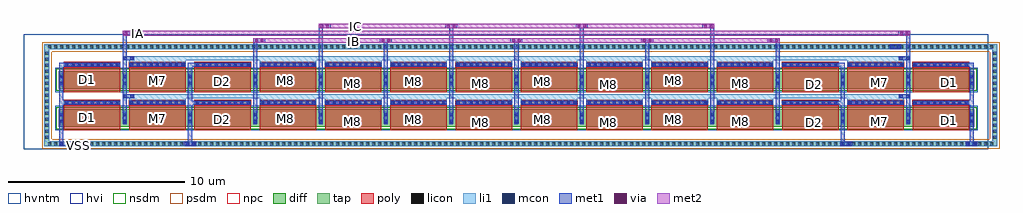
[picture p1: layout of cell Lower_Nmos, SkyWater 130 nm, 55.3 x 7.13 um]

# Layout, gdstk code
from math import pi, radians
import gdstk
lib = gdstk.Library(unit=1e-6, precision=1e-09)
def R(c, l, rs):  # rectangles x0, y0, x1, y1
    for r in rs: c.add(gdstk.rectangle(r[:2], r[2:], *l))
def A(c, l, x, y, w, h, nx, ny, dx, dy):  # array of equal rectangles
    R(c, l, [(x+i*dx, y+j*dy, x+i*dx+w, y+j*dy+h) for i in range(nx) for j in range(ny)])
diff = (65, 20)
tap = (65, 44)
poly = (66, 20)
licon = (66, 44)
li1 = (67, 20)
mcon = (67, 44)
met1 = (68, 20)
via = (68, 44)
met2 = (69, 20)
hvi = (75, 20)
nsdm = (93, 44)
psdm = (94, 20)
npc = (95, 20)
hvntm = (125, 20)

nfet = lib.new_cell('nfet')
R(nfet, diff, [(0,0,51.9,1)])
A(nfet, poly, 0.3, -0.2, 3.2, 1.4, 14, 1, 3.7, 0)
A(nfet, poly, 0.3, 1.2, 3.2, 0.33, 14, 1, 3.7, 0)
A(nfet, licon, 3.665, 0.235, 0.17, 0.17, 13, 2, 3.7, 0.36)
A(nfet, licon, 0.375, 1.28, 0.17, 0.17, 9, 1, 0.36, 0)
A(nfet, licon, 4.075, 1.28, 0.17, 0.17, 9, 1, 0.36, 0)
A(nfet, licon, 7.775, 1.28, 0.17, 0.17, 9, 1, 0.36, 0)
A(nfet, licon, 11.475, 1.28, 0.17, 0.17, 9, 1, 0.36, 0)
A(nfet, licon, 15.175, 1.28, 0.17, 0.17, 9, 1, 0.36, 0)
A(nfet, licon, 18.875, 1.28, 0.17, 0.17, 9, 1, 0.36, 0)
A(nfet, licon, 22.575, 1.28, 0.17, 0.17, 9, 1, 0.36, 0)
A(nfet, licon, 26.275, 1.28, 0.17, 0.17, 9, 1, 0.36, 0)
A(nfet, licon, 29.975, 1.28, 0.17, 0.17, 9, 1, 0.36, 0)
A(nfet, licon, 33.675, 1.28, 0.17, 0.17, 9, 1, 0.36, 0)
A(nfet, licon, 37.375, 1.28, 0.17, 0.17, 9, 1, 0.36, 0)
A(nfet, licon, 41.075, 1.28, 0.17, 0.17, 9, 1, 0.36, 0)
A(nfet, licon, 44.775, 1.28, 0.17, 0.17, 9, 1, 0.36, 0)
A(nfet, licon, 48.475, 1.28, 0.17, 0.17, 9, 1, 0.36, 0)
R(nfet, licon, [(0.065,0.235,0.235,0.405), (51.665,0.235,51.835,0.405), (0.065,0.595,0.235,0.765), (51.665,0.595,51.835,0.765)])
A(nfet, li1, 3.665, 0.155, 0.17, 0.69, 13, 1, 3.7, 0)
A(nfet, li1, 0.295, 1.28, 3.21, 0.17, 14, 1, 3.7, 0)
R(nfet, li1, [(0.065,0.155,0.235,0.845), (51.665,0.155,51.835,0.845)])
A(nfet, mcon, 3.665, 0.235, 0.17, 0.17, 13, 2, 3.7, 0.36)
A(nfet, mcon, 0.375, 1.28, 0.17, 0.17, 9, 1, 0.36, 0)
A(nfet, mcon, 4.075, 1.28, 0.17, 0.17, 9, 1, 0.36, 0)
A(nfet, mcon, 7.775, 1.28, 0.17, 0.17, 9, 1, 0.36, 0)
A(nfet, mcon, 11.475, 1.28, 0.17, 0.17, 9, 1, 0.36, 0)
A(nfet, mcon, 15.175, 1.28, 0.17, 0.17, 9, 1, 0.36, 0)
A(nfet, mcon, 18.875, 1.28, 0.17, 0.17, 9, 1, 0.36, 0)
A(nfet, mcon, 22.575, 1.28, 0.17, 0.17, 9, 1, 0.36, 0)
A(nfet, mcon, 26.275, 1.28, 0.17, 0.17, 9, 1, 0.36, 0)
A(nfet, mcon, 29.975, 1.28, 0.17, 0.17, 9, 1, 0.36, 0)
A(nfet, mcon, 33.675, 1.28, 0.17, 0.17, 9, 1, 0.36, 0)
A(nfet, mcon, 37.375, 1.28, 0.17, 0.17, 9, 1, 0.36, 0)
A(nfet, mcon, 41.075, 1.28, 0.17, 0.17, 9, 1, 0.36, 0)
A(nfet, mcon, 44.775, 1.28, 0.17, 0.17, 9, 1, 0.36, 0)
A(nfet, mcon, 48.475, 1.28, 0.17, 0.17, 9, 1, 0.36, 0)
R(nfet, mcon, [(0.065,0.235,0.235,0.405), (51.665,0.235,51.835,0.405), (0.065,0.595,0.235,0.765), (51.665,0.595,51.835,0.765)])
A(nfet, met1, 3.635, 0.175, 0.23, 0.65, 13, 1, 3.7, 0)
A(nfet, met1, 0.315, 1.25, 3.17, 0.23, 14, 1, 3.7, 0)
R(nfet, met1, [(0.035,0.175,0.265,0.825), (51.635,0.175,51.865,0.825)])
R(nfet, hvi, [(-0.37,-0.385,52.27,1.725)])
R(nfet, nsdm, [(-0.125,-0.125,52.025,1.125)])
A(nfet, npc, 0.29, 1.19, 3.22, 0.35, 14, 1, 3.7, 0)
R(nfet, hvntm, [(-0.185,-0.185,52.085,1.185)])

vias_gen_6 = lib.new_cell('vias_gen$6')
R(vias_gen_6, li1, [(0,0,0.66,0.23)])
R(vias_gen_6, mcon, [(0.065,0.03,0.235,0.2), (0.425,0.03,0.595,0.2)])
R(vias_gen_6, met1, [(0,0,0.66,0.23)])

vias_gen_11 = lib.new_cell('vias_gen$11')
R(vias_gen_11, li1, [(0,0,0.66,0.26)])
R(vias_gen_11, mcon, [(0.065,0.045,0.235,0.215), (0.425,0.045,0.595,0.215)])
R(vias_gen_11, met1, [(0,0,0.66,0.26)])

vias_gen_13 = lib.new_cell('vias_gen$13')
R(vias_gen_13, met1, [(0,0,0.68,0.26)])
R(vias_gen_13, via, [(0.105,0.055,0.255,0.205), (0.425,0.055,0.575,0.205)])
R(vias_gen_13, met2, [(0,0,0.68,0.26)])

nfet_2 = lib.new_cell('nfet$2')
R(nfet_2, diff, [(0,0,51.9,1)])
A(nfet_2, poly, 0.3, -0.2, 3.2, 1.4, 14, 1, 3.7, 0)
A(nfet_2, poly, 0.3, 1.2, 3.2, 0.33, 14, 1, 3.7, 0)
A(nfet_2, licon, 3.665, 0.235, 0.17, 0.17, 13, 2, 3.7, 0.36)
A(nfet_2, licon, 0.375, 1.28, 0.17, 0.17, 9, 1, 0.36, 0)
A(nfet_2, licon, 4.075, 1.28, 0.17, 0.17, 9, 1, 0.36, 0)
A(nfet_2, licon, 7.775, 1.28, 0.17, 0.17, 9, 1, 0.36, 0)
A(nfet_2, licon, 11.475, 1.28, 0.17, 0.17, 9, 1, 0.36, 0)
A(nfet_2, licon, 15.175, 1.28, 0.17, 0.17, 9, 1, 0.36, 0)
A(nfet_2, licon, 18.875, 1.28, 0.17, 0.17, 9, 1, 0.36, 0)
A(nfet_2, licon, 22.575, 1.28, 0.17, 0.17, 9, 1, 0.36, 0)
A(nfet_2, licon, 26.275, 1.28, 0.17, 0.17, 9, 1, 0.36, 0)
A(nfet_2, licon, 29.975, 1.28, 0.17, 0.17, 9, 1, 0.36, 0)
A(nfet_2, licon, 33.675, 1.28, 0.17, 0.17, 9, 1, 0.36, 0)
A(nfet_2, licon, 37.375, 1.28, 0.17, 0.17, 9, 1, 0.36, 0)
A(nfet_2, licon, 41.075, 1.28, 0.17, 0.17, 9, 1, 0.36, 0)
A(nfet_2, licon, 44.775, 1.28, 0.17, 0.17, 9, 1, 0.36, 0)
A(nfet_2, licon, 48.475, 1.28, 0.17, 0.17, 9, 1, 0.36, 0)
R(nfet_2, licon, [(0.065,0.235,0.235,0.405), (51.665,0.235,51.835,0.405), (0.065,0.595,0.235,0.765), (51.665,0.595,51.835,0.765)])
A(nfet_2, li1, 3.665, 0.155, 0.17, 0.69, 13, 1, 3.7, 0)
A(nfet_2, li1, 0.295, 1.28, 3.21, 0.17, 14, 1, 3.7, 0)
R(nfet_2, li1, [(0.065,0.155,0.235,0.845), (51.665,0.155,51.835,0.845)])
A(nfet_2, mcon, 3.665, 0.235, 0.17, 0.17, 13, 2, 3.7, 0.36)
A(nfet_2, mcon, 0.375, 1.28, 0.17, 0.17, 9, 1, 0.36, 0)
A(nfet_2, mcon, 4.075, 1.28, 0.17, 0.17, 9, 1, 0.36, 0)
A(nfet_2, mcon, 7.775, 1.28, 0.17, 0.17, 9, 1, 0.36, 0)
A(nfet_2, mcon, 11.475, 1.28, 0.17, 0.17, 9, 1, 0.36, 0)
A(nfet_2, mcon, 15.175, 1.28, 0.17, 0.17, 9, 1, 0.36, 0)
A(nfet_2, mcon, 18.875, 1.28, 0.17, 0.17, 9, 1, 0.36, 0)
A(nfet_2, mcon, 22.575, 1.28, 0.17, 0.17, 9, 1, 0.36, 0)
A(nfet_2, mcon, 26.275, 1.28, 0.17, 0.17, 9, 1, 0.36, 0)
A(nfet_2, mcon, 29.975, 1.28, 0.17, 0.17, 9, 1, 0.36, 0)
A(nfet_2, mcon, 33.675, 1.28, 0.17, 0.17, 9, 1, 0.36, 0)
A(nfet_2, mcon, 37.375, 1.28, 0.17, 0.17, 9, 1, 0.36, 0)
A(nfet_2, mcon, 41.075, 1.28, 0.17, 0.17, 9, 1, 0.36, 0)
A(nfet_2, mcon, 44.775, 1.28, 0.17, 0.17, 9, 1, 0.36, 0)
A(nfet_2, mcon, 48.475, 1.28, 0.17, 0.17, 9, 1, 0.36, 0)
R(nfet_2, mcon, [(0.065,0.235,0.235,0.405), (51.665,0.235,51.835,0.405), (0.065,0.595,0.235,0.765), (51.665,0.595,51.835,0.765)])
A(nfet_2, met1, 3.635, 0.175, 0.23, 0.65, 13, 1, 3.7, 0)
A(nfet_2, met1, 0.315, 1.25, 3.17, 0.23, 14, 1, 3.7, 0)
R(nfet_2, met1, [(0.035,0.175,0.265,0.825), (51.635,0.175,51.865,0.825)])
R(nfet_2, hvi, [(-0.37,-0.385,52.27,1.725)])
R(nfet_2, nsdm, [(-0.125,-0.125,52.025,1.125)])
A(nfet_2, npc, 0.29, 1.19, 3.22, 0.35, 14, 1, 3.7, 0)
R(nfet_2, hvntm, [(-0.185,-0.185,52.085,1.185)])

vias_gen_15 = lib.new_cell('vias_gen$15')
R(vias_gen_15, tap, [(0,0,5.2,0.29)])
A(vias_gen_15, licon, 0.135, 0.06, 0.17, 0.17, 15, 1, 0.34, 0)
R(vias_gen_15, li1, [(0,0,5.2,0.29)])
R(vias_gen_15, psdm, [(-0.125,-0.125,5.325,0.415)])

vias_gen_14 = lib.new_cell('vias_gen$14')
R(vias_gen_14, tap, [(0,0,54,0.29)])
A(vias_gen_14, licon, 0.225, 0.06, 0.17, 0.17, 158, 1, 0.34, 0)
R(vias_gen_14, li1, [(0,0,54,0.29)])
R(vias_gen_14, psdm, [(-0.125,-0.125,54.125,0.415)])

lower_nmos = lib.new_cell('Lower_Nmos')
A(lower_nmos, li1, 11.875, -35.29, 3.21, 0.405, 8, 2, 3.7, 2.16)
R(lower_nmos, li1, [(4.475,-35.29,7.685,-34.885), (45.175,-35.29,48.385,-34.885), (26.675,-35.285,29.885,-34.885), (4.44,-35.115,48.085,-34.885), (4.475,-33.13,7.685,-32.725), (45.175,-33.13,48.385,-32.725), (26.675,-33.125,29.885,-32.725), (4.44,-32.955,48.085,-32.725)])
R(lower_nmos, met1, [(7.815,-37.705,8.045,-36.565), (0.515,-37.7,0.745,-36.565), (52.115,-37.69,52.345,-36.565), (44.815,-37.655,45.045,-36.565), (0.515,-35.915,0.745,-35.385), (4.115,-35.915,4.345,-34.375), (7.815,-35.915,8.045,-35.26), (11.515,-35.915,11.745,-34.405), (15.215,-35.915,15.445,-34.23), (18.915,-35.915,19.145,-34.355), (22.615,-35.915,22.845,-34.34), (26.315,-35.915,26.545,-34.345), (30.015,-35.915,30.245,-34.37), (33.715,-35.915,33.945,-34.305), (37.415,-35.915,37.645,-34.175), (41.115,-35.915,41.345,-34.005), (44.815,-35.915,45.045,-35.26), (48.515,-35.915,48.745,-34.405), (52.115,-35.915,52.345,-35.385), (0.515,-35.49,0.795,-35.26), (7.95,-35.49,8.195,-35.26), (44.665,-35.49,44.91,-35.26), (52.065,-35.49,52.345,-35.26), (7.815,-35.42,8.045,-35.15), (0.515,-35.28,0.745,-34.405), (52.115,-35.27,52.345,-34.405), (44.815,-35.26,45.045,-34.405), (7.815,-35.15,8.045,-34.405), (37.415,-33.855,37.645,-31.015), (18.915,-33.76,19.145,-31.84), (0.515,-33.755,0.745,-33.225), (4.115,-33.755,4.34,-31.44), (7.815,-33.755,8.045,-33.1), (11.515,-33.755,11.745,-31.85), (15.215,-33.755,15.445,-31.075), (22.615,-33.755,22.845,-30.995), (26.315,-33.755,26.545,-31.825), (30.015,-33.755,30.245,-31.04), (33.715,-33.755,33.945,-31.795), (41.115,-33.755,41.345,-31.84), (44.815,-33.755,45.045,-33.1), (48.52,-33.755,48.745,-31.435), (52.115,-33.755,52.345,-33.225), (0.515,-33.33,0.795,-33.1), (7.95,-33.33,8.195,-33.1), (44.665,-33.33,44.91,-33.1), (52.065,-33.33,52.345,-33.1)])
R(lower_nmos, met2, [(12.195,-31.975,41.115,-31.715), (4.795,-31.565,48.63,-31.305), (15.895,-31.145,37.625,-30.885)])
R(lower_nmos, hvi, [(-1.505,-38.02,53.17,-31.5)])
lower_nmos.add(gdstk.Reference(nfet, (0.48,-34.58)))
lower_nmos.add(gdstk.Reference(vias_gen_6, (4.115,-32.955)))
lower_nmos.add(gdstk.Reference(vias_gen_6, (48.745,-32.955), rotation=pi, x_reflection=True))
lower_nmos.add(gdstk.Reference(vias_gen_11, (48.245,-32.32), rotation=pi, x_reflection=True))
lower_nmos.add(gdstk.Reference(vias_gen_13, (11.515,-31.975)))
lower_nmos.add(gdstk.Reference(vias_gen_13, (40.665,-31.975)))
lower_nmos.add(gdstk.Reference(vias_gen_13, (4.115,-31.565)))
lower_nmos.add(gdstk.Reference(vias_gen_13, (48.065,-31.565)))
lower_nmos.add(gdstk.Reference(vias_gen_13, (15.215,-31.145)))
lower_nmos.add(gdstk.Reference(vias_gen_13, (36.965,-31.145)))
lower_nmos.add(gdstk.Reference(vias_gen_13, (18.69,-31.975)))
lower_nmos.add(gdstk.Reference(vias_gen_13, (26.09,-31.975)))
lower_nmos.add(gdstk.Reference(vias_gen_13, (33.49,-31.975)))
lower_nmos.add(gdstk.Reference(vias_gen_13, (29.795,-31.145)))
lower_nmos.add(gdstk.Reference(vias_gen_13, (22.405,-31.145)))
lower_nmos.add(gdstk.Reference(nfet_2, (0.48,-36.74)))
lower_nmos.add(gdstk.Reference(vias_gen_6, (4.115,-35.115)))
lower_nmos.add(gdstk.Reference(vias_gen_6, (48.745,-35.115), rotation=pi, x_reflection=True))
lower_nmos.add(gdstk.Reference(vias_gen_15, (-0.035,-37.555), rotation=pi/2))
lower_nmos.add(gdstk.Reference(vias_gen_14, (-0.325,-32.355)))
lower_nmos.add(gdstk.Reference(vias_gen_6, (0.515,-37.81)))
lower_nmos.add(gdstk.Reference(vias_gen_6, (7.61,-37.815)))
lower_nmos.add(gdstk.Reference(vias_gen_6, (44.79,-37.81)))
lower_nmos.add(gdstk.Reference(vias_gen_6, (51.885,-37.815)))
lower_nmos.add(gdstk.Reference(vias_gen_14, (-0.325,-37.845)))
lower_nmos.add(gdstk.Reference(vias_gen_15, (53.675,-37.555), rotation=pi/2))
lower_nmos.add(gdstk.Label('VSS', (1.595,-37.8), layer=67, texttype=16))
lower_nmos.add(gdstk.Label('IC', (17.295,-31.03), layer=69, texttype=16))
lower_nmos.add(gdstk.Label('IB', (17.195,-31.88), layer=69, texttype=16))
lower_nmos.add(gdstk.Label('IA', (4.965,-31.425), layer=69, texttype=16))
lower_nmos.add(gdstk.Label('D1', (2.125,-36.205), layer=68, texttype=5))
lower_nmos.add(gdstk.Label('D2', (43.301,-36.495), layer=68, texttype=5))
lower_nmos.add(gdstk.Label('M7', (46.976,-36.41), layer=68, texttype=5))
lower_nmos.add(gdstk.Label('D1', (50.951,-36.37), layer=68, texttype=5))
lower_nmos.add(gdstk.Label('M8', (39.13,-36.44), layer=68, texttype=5))
lower_nmos.add(gdstk.Label('M8', (35.35,-36.3), layer=68, texttype=5))
lower_nmos.add(gdstk.Label('M8', (31.665,-36.49), layer=68, texttype=5))
lower_nmos.add(gdstk.Label('M8', (27.885,-36.35), layer=68, texttype=5))
lower_nmos.add(gdstk.Label('M8', (24.39,-36.465), layer=68, texttype=5))
lower_nmos.add(gdstk.Label('M8', (20.61,-36.325), layer=68, texttype=5))
lower_nmos.add(gdstk.Label('M8', (17.13,-36.415), layer=68, texttype=5))
lower_nmos.add(gdstk.Label('M8', (13.35,-36.275), layer=68, texttype=5))
lower_nmos.add(gdstk.Label('D2', (9.775,-36.33), layer=68, texttype=5))
lower_nmos.add(gdstk.Label('M7', (6.1,-36.245), layer=68, texttype=5))
lower_nmos.add(gdstk.Label('D1', (2.125,-34.045), layer=68, texttype=5))
lower_nmos.add(gdstk.Label('D2', (43.301,-34.335), layer=68, texttype=5))
lower_nmos.add(gdstk.Label('M7', (46.976,-34.25), layer=68, texttype=5))
lower_nmos.add(gdstk.Label('D1', (50.951,-34.21), layer=68, texttype=5))
lower_nmos.add(gdstk.Label('M8', (39.13,-34.28), layer=68, texttype=5))
lower_nmos.add(gdstk.Label('M8', (35.35,-34.14), layer=68, texttype=5))
lower_nmos.add(gdstk.Label('M8', (31.665,-34.33), layer=68, texttype=5))
lower_nmos.add(gdstk.Label('M8', (27.885,-34.19), layer=68, texttype=5))
lower_nmos.add(gdstk.Label('M8', (24.39,-34.305), layer=68, texttype=5))
lower_nmos.add(gdstk.Label('M8', (20.61,-34.165), layer=68, texttype=5))
lower_nmos.add(gdstk.Label('M8', (17.13,-34.255), layer=68, texttype=5))
lower_nmos.add(gdstk.Label('M8', (13.35,-34.115), layer=68, texttype=5))
lower_nmos.add(gdstk.Label('D2', (9.775,-34.17), layer=68, texttype=5))
lower_nmos.add(gdstk.Label('M7', (6.1,-34.085), layer=68, texttype=5))

lib.write_gds('Lower_Nmos.gds')
